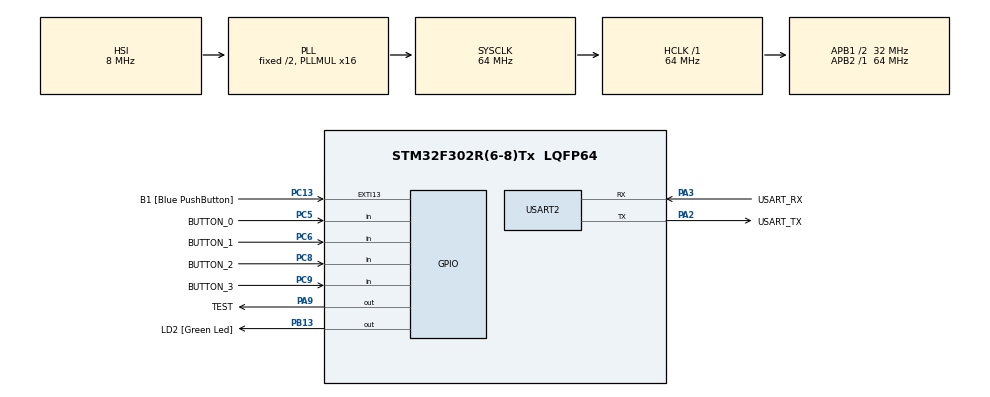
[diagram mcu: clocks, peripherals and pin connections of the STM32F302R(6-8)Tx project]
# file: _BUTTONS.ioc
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Mcu.Family=STM32F3
Mcu.Name=STM32F302R(6-8)Tx
Mcu.Package=LQFP64
NVIC.EXTI15_10_IRQn=true\:0\:0\:false\:false\:true\:true\:true\:true
NVIC.PriorityGroup=NVIC_PRIORITYGROUP_0
NVIC.TIM2_IRQn=true\:0\:0\:false\:false\:true\:true\:true\:true
PA13.GPIO_Label=TMS
PA13.Mode=Serial_Wire
PA13.Signal=SYS_JTMS-SWDIO
PA14.GPIO_Label=TCK
PA14.Mode=Serial_Wire
PA14.Signal=SYS_JTCK-SWCLK
PA2.GPIO_Label=USART_TX
PA2.GPIO_Mode=GPIO_MODE_AF_PP
PA2.GPIO_PuPd=GPIO_NOPULL
PA2.GPIO_Speed=GPIO_SPEED_FREQ_LOW
PA2.Mode=Asynchronous
PA2.Signal=USART2_TX
PA3.GPIO_Label=USART_RX
PA3.GPIO_Mode=GPIO_MODE_AF_PP
PA3.GPIO_PuPd=GPIO_NOPULL
PA3.GPIO_Speed=GPIO_SPEED_FREQ_LOW
PA3.Mode=Asynchronous
PA3.Signal=USART2_RX
PA9.GPIO_Label=TEST
PA9.Signal=GPIO_Output
PB13.GPIO_Label=LD2 [Green Led]
PB13.Signal=GPIO_Output
PB3.GPIO_Label=SWO
PB3.Mode=Trace_Asynchronous_SW
PB3.Signal=SYS_JTDO-TRACESWO
PC13.GPIO_Label=B1 [Blue PushButton]
PC13.GPIO_ModeDefaultEXTI=GPIO_MODE_IT_FALLING
PC13.Signal=GPXTI13
PC14\ -\ OSC32_IN.Mode=LSE-External-Oscillator
PC14\ -\ OSC32_IN.Signal=RCC_OSC32_IN
PC15\ -\ OSC32_OUT.Mode=LSE-External-Oscillator
PC15\ -\ OSC32_OUT.Signal=RCC_OSC32_OUT
PC5.GPIO_Label=BUTTON_0
PC5.GPIO_PuPd=GPIO_PULLUP
PC5.Signal=GPIO_Input
PC6.GPIO_Label=BUTTON_1
PC6.GPIO_PuPd=GPIO_PULLUP
PC6.Signal=GPIO_Input
PC8.GPIO_Label=BUTTON_2
PC8.GPIO_PuPd=GPIO_PULLUP
PC8.Signal=GPIO_Input
PC9.GPIO_Label=BUTTON_3
PC9.GPIO_PuPd=GPIO_PULLUP
PC9.Signal=GPIO_Input
PF0-OSC_IN.Mode=HSE-External-Clock-Source
PF0-OSC_IN.Signal=RCC_OSC_IN
PF1-OSC_OUT.Signal=RCC_OSC_OUT
ProjectManager.HeapSize=0x200
ProjectManager.StackSize=0x400
ProjectManager.TargetToolchain=STM32CubeIDE
RCC.AHBFreq_Value=64000000
RCC.APB1CLKDivider=RCC_HCLK_DIV2
RCC.APB1Freq_Value=32000000
RCC.APB1TimFreq_Value=64000000
RCC.APB2Freq_Value=64000000
RCC.APB2TimFreq_Value=64000000
RCC.CortexFreq_Value=64000000
RCC.HCLKFreq_Value=64000000
RCC.HSE_VALUE=8000000
RCC.HSI_VALUE=8000000
RCC.PLLM=8
RCC.PLLMUL=RCC_PLL_MUL16
RCC.PLLN=336
RCC.PLLP=RCC_PLLP_DIV4
RCC.PLLQ=7
RCC.RCC_PLLsource_Clock_Source_FROM_HSE=RCC_HSE_PREDIV_DIV2
RCC.SYSCLKFreq_VALUE=64000000
RCC.SYSCLKSourceVirtual=RCC_SYSCLKSOURCE_PLLCLK
RCC.USBFreq_Value=64000000
TIM2.AutoReloadPreload=TIM_AUTORELOAD_PRELOAD_ENABLE
TIM2.Period=999
TIM2.Prescaler=63
TIM2.TIM_MasterOutputTrigger=TIM_TRGO_UPDATE
USART2.VirtualMode-Asynchronous=VM_ASYNC
VP_TIM2_VS_ClockSourceINT.Mode=Internal
board=NUCLEO-F302R8

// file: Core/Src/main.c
/* USER CODE BEGIN Header */
/**
 ******************************************************************************
 * @file           : main.c
 * @brief          : Main program body
 ******************************************************************************
 * @attention
 *
 * Copyright (c) 2024 STMicroelectronics.
 * All rights reserved.
 *
 * This software is licensed under terms that can be found in the LICENSE file
 * in the root directory of this software component.
 * If no LICENSE file comes with this software, it is provided AS-IS.
 *
 ******************************************************************************
 */
/* USER CODE END Header */
#include "main.h"
#include "tim.h"
#include "usart.h"
#include "gpio.h"

/* USER CODE BEGIN Includes */
#include <Buttons.h>
/* USER CODE END Includes */

/* USER CODE BEGIN PV */
int button_a_presses, button_b_presses, button_c_presses, button_d_presses;
/* USER CODE END PV */

void SystemClock_Config(void);

int main(void)
{

  /* MCU Configuration--------------------------------------------------------*/

  /* Reset of all peripherals, Initializes the Flash interface and the Systick. */
  HAL_Init();

  /* Configure the system clock */
  SystemClock_Config();

  /* Initialize all configured peripherals */
  MX_GPIO_Init();
  MX_USART2_UART_Init();
  MX_TIM2_Init();
  /* USER CODE BEGIN 2 */
  btn_init();
  HAL_TIM_Base_Start_IT(&htim2);
  /* USER CODE END 2 */

  /* Infinite loop */
	while (1)
	{

    /* USER CODE BEGIN 3 */
		if(btn_event_num()) {
			if(btn_event_num() >> 0 & 1) {
				btn_clear_event(0);
				button_a_presses++;
			}
			else if(btn_event_num() >> 1 & 1) {
				btn_clear_event(1);
				button_b_presses++;
			}
			else if(btn_event_num() >> 2 & 1) {
				btn_clear_event(2);
				button_c_presses++;
			}
			else if(btn_event_num() >> 3 & 1) {
				btn_clear_event(3);
				button_d_presses++;
			}
		}
	}
  /* USER CODE END 3 */
}

void SystemClock_Config(void)
{
  RCC_OscInitTypeDef RCC_OscInitStruct = {0};
  RCC_ClkInitTypeDef RCC_ClkInitStruct = {0};

  /** Initializes the RCC Oscillators according to the specified parameters
  * in the RCC_OscInitTypeDef structure.
  */
  RCC_OscInitStruct.OscillatorType = RCC_OSCILLATORTYPE_HSI;
  RCC_OscInitStruct.HSIState = RCC_HSI_ON;
  RCC_OscInitStruct.HSICalibrationValue = RCC_HSICALIBRATION_DEFAULT;
  RCC_OscInitStruct.PLL.PLLState = RCC_PLL_ON;
  RCC_OscInitStruct.PLL.PLLSource = RCC_PLLSOURCE_HSI;
  RCC_OscInitStruct.PLL.PLLMUL = RCC_PLL_MUL16;
  if (HAL_RCC_OscConfig(&RCC_OscInitStruct) != HAL_OK)
  {
    Error_Handler();
  }

  /** Initializes the CPU, AHB and APB buses clocks
  */
  RCC_ClkInitStruct.ClockType = RCC_CLOCKTYPE_HCLK|RCC_CLOCKTYPE_SYSCLK
                              |RCC_CLOCKTYPE_PCLK1|RCC_CLOCKTYPE_PCLK2;
  RCC_ClkInitStruct.SYSCLKSource = RCC_SYSCLKSOURCE_PLLCLK;
  RCC_ClkInitStruct.AHBCLKDivider = RCC_SYSCLK_DIV1;
  RCC_ClkInitStruct.APB1CLKDivider = RCC_HCLK_DIV2;
  RCC_ClkInitStruct.APB2CLKDivider = RCC_HCLK_DIV1;

  if (HAL_RCC_ClockConfig(&RCC_ClkInitStruct, FLASH_LATENCY_2) != HAL_OK)
  {
    Error_Handler();
  }
}

/* USER CODE BEGIN 4 */
void HAL_TIM_PeriodElapsedCallback(TIM_HandleTypeDef *htim)
{
  btn_update();
}
/* USER CODE END 4 */

void Error_Handler(void)
{
	__disable_irq();
	while (1)
	{
	}
}
